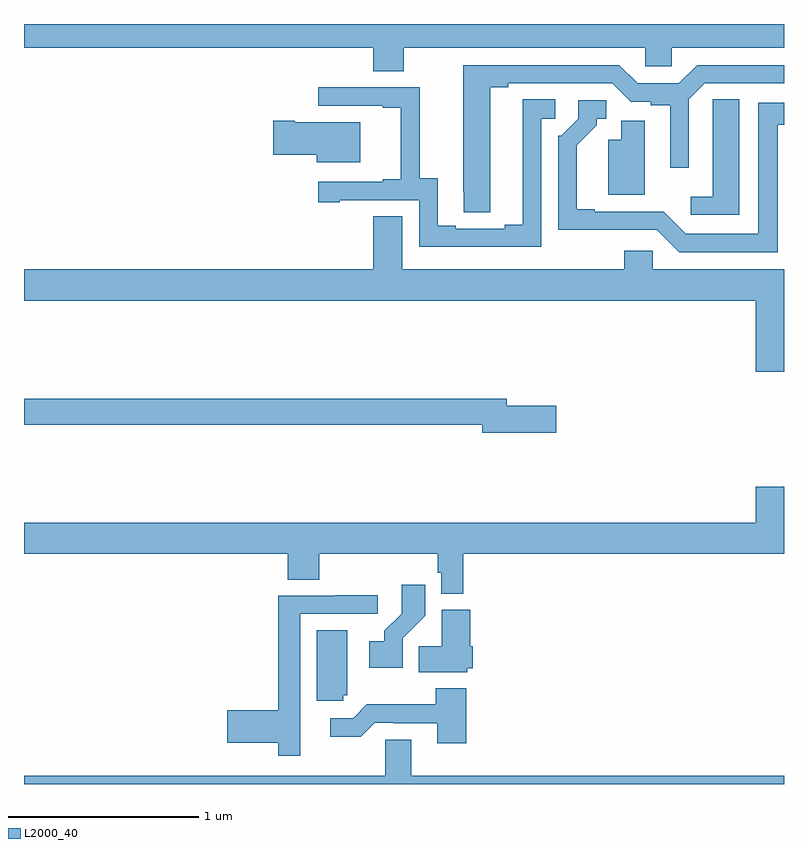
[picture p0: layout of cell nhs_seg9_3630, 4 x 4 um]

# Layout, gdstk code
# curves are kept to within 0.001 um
import gdstk
lib = gdstk.Library(unit=1e-6, precision=1e-09)
def P(c, l, *ps):  # polygons
    for p in ps: c.add(gdstk.Polygon(p, *l))
L2000_40 = (2000, 40)

nhs_seg9_3630 = lib.new_cell('nhs_seg9_3630')
P(nhs_seg9_3630, L2000_40, [(318.999,1240.376),(320.271,1240.376),(320.271,1240.278),(320.409,1240.278),(320.409,1240.376),(321,1240.376),(321,1240.5),(317,1240.5),(317,1240.376),(318.839,1240.376),(318.839,1240.252),(318.999,1240.252)],
  [(319.453,1240.168),(319.549,1240.168),(319.549,1240.188),(320.097,1240.188),(320.193,1240.092),(320.298,1240.092),(320.298,1240.072),(320.402,1240.072),(320.402,1239.744),(320.499,1239.744),(320.499,1240.104),(320.583,1240.188),(321,1240.188),(321,1240.284),(320.543,1240.284),(320.447,1240.188),(320.229,1240.188),(320.133,1240.284),(319.313,1240.284),(319.314,1239.508),(319.453,1239.508)],
  [(319.722,1240.002),(319.795,1240.002),(319.795,1240.103),(319.625,1240.103),(319.625,1239.443),(319.529,1239.443),(319.529,1239.423),(319.273,1239.423),(319.273,1239.438),(319.177,1239.438),(319.177,1239.689),(319.083,1239.689),(319.083,1240.167),(318.549,1240.167),(318.549,1240.071),(318.887,1240.071),(318.887,1240.059),(318.983,1240.059),(318.983,1239.682),(318.887,1239.682),(318.887,1239.669),(318.549,1239.669),(318.549,1239.561),(318.661,1239.561),(318.661,1239.573),(319.08,1239.573),(319.08,1239.327),(319.722,1239.327)],
  [(320.764,1240.103),(320.625,1240.103),(320.625,1239.995),(320.624,1239.995),(320.624,1239.592),(320.508,1239.592),(320.508,1239.495),(320.764,1239.495)],
  [(320.968,1239.97),(321,1239.97),(321,1240.086),(320.864,1240.086),(320.864,1239.396),(320.484,1239.396),(320.367,1239.513),(320.005,1239.513),(320.005,1239.526),(319.909,1239.526),(319.909,1239.862),(320.014,1239.967),(320.014,1240.002),(320.064,1240.002),(320.064,1240.098),(319.917,1240.098),(319.917,1240.002),(319.827,1239.912),(319.812,1239.912),(319.812,1239.416),(320.331,1239.417),(320.448,1239.3),(320.968,1239.3)],
  [(318.769,1239.982),(318.424,1239.982),(318.424,1239.99),(318.312,1239.99),(318.312,1239.812),(318.542,1239.812),(318.542,1239.773),(318.769,1239.773)],
  [(320.266,1239.99),(320.144,1239.99),(320.144,1239.892),(320.075,1239.892),(320.075,1239.602),(320.266,1239.602)],
  [(321,1239.208),(320.31,1239.208),(320.31,1239.306),(320.159,1239.306),(320.159,1239.208),(318.991,1239.208),(318.991,1239.488),(318.839,1239.488),(318.839,1239.208),(317,1239.208),(317,1239.044),(320.852,1239.044),(320.852,1238.67),(321,1238.67)],
  [(319.801,1238.492),(319.54,1238.492),(319.54,1238.528),(317,1238.528),(317,1238.392),(319.412,1238.392),(319.412,1238.35),(319.801,1238.35)],
  [(319.313,1237.712),(321,1237.712),(321,1238.065),(320.852,1238.065),(320.852,1237.876),(317,1237.876),(317,1237.712),(318.389,1237.712),(318.389,1237.576),(318.554,1237.576),(318.554,1237.712),(319.177,1237.712),(319.177,1237.611),(319.197,1237.611),(319.197,1237.502),(319.313,1237.502)],
  [(318.993,1237.267),(319.112,1237.386),(319.112,1237.549),(318.987,1237.549),(318.987,1237.397),(318.896,1237.307),(318.896,1237.252),(318.816,1237.252),(318.816,1237.112),(318.993,1237.112)],
  [(318.454,1236.87),(318.453,1236.87),(318.453,1237.395),(318.862,1237.395),(318.862,1237.494),(318.637,1237.494),(318.637,1237.491),(318.337,1237.491),(318.337,1236.887),(318.069,1236.887),(318.069,1236.716),(318.337,1236.716),(318.337,1236.648),(318.454,1236.648)],
  [(319.332,1237.11),(319.361,1237.11),(319.361,1237.224),(319.349,1237.224),(319.349,1237.417),(319.199,1237.417),(319.199,1237.226),(319.078,1237.226),(319.078,1237.088),(319.332,1237.088)],
  [(318.681,1236.966),(318.7,1236.966),(318.7,1237.31),(318.542,1237.31),(318.542,1236.939),(318.681,1236.939)],
  [(319.328,1237.003),(319.168,1237.003),(319.168,1236.919),(318.805,1236.919),(318.732,1236.846),(318.612,1236.846),(318.612,1236.749),(318.773,1236.749),(318.846,1236.822),(318.946,1236.822),(318.946,1236.819),(319.175,1236.819),(319.175,1236.714),(319.328,1236.714)],
  [(321,1236.544),(319.039,1236.544),(319.039,1236.734),(318.9,1236.734),(318.9,1236.544),(317,1236.544),(317,1236.5),(321,1236.5)])

lib.write_gds('nhs_seg9_3630.gds')
